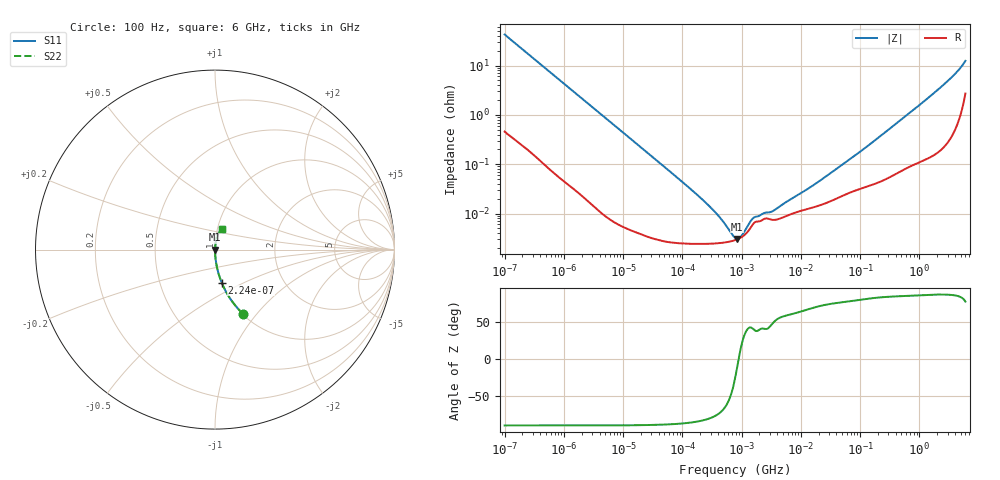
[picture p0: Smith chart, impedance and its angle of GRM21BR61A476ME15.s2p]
!Murata Part Number: GRM21BR61A476ME15
!These Parameters are Measured in Series Mode Connection
!Data Generated on Mar 30, 2021
!  o--ll--o
!Port1  Port2
!  o------o
!Operation Temp=25[degC], DC Bias Voltage=0[V]
!Freq. Start=100[Hz] Stop=6[GHz] 401[Steps]
# Hz S RI R 50
!Freq.(Hz) S11(Real) S11(Imag) S21(Real) S21(Imag) S12(Real) S12(Imag) S22(Real) S22(Imag)
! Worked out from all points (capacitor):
!   401 points, 100 Hz to 6 GHz, reference 50 ohm
!   read as one part in series: C = 37.2 uF near 109 Hz
!   lowest |Z| = 3.06 mohm at 847.2 kHz (marker M1)
!   series resonance near 892.3 kHz, so ESL is about 850 pH
!   S11 on the Smith chart (normalised r, x): 100 Hz: 1.01, -0.85; 224 Hz: 1.00, -0.38; 6 GHz: 1.05, +0.24
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100  0.1564 -0.3579  0.8436 0.3579  0.8436 0.3579  0.1564 -0.3579
156  0.0718 -0.2528  0.9282 0.2528  0.9282 0.2528  0.0718 -0.2528
224  0.0373 -0.1839  0.9627 0.1839  0.9627 0.1839  0.0373 -0.1839
350  0.0161 -0.1206  0.9839 0.1206  0.9839 0.1206  0.0161 -0.1206
573  0.00641 -0.0747  0.9936 0.0747  0.9936 0.0747  0.00641 -0.0747
2008  0.000698 -0.0216  0.9993 0.0216  0.9993 0.0216  0.000698 -0.0216
40335  3e-05 -0.00109  1 0.00109  1 0.00109  3e-05 -0.00109
161617  2.43e-05 -0.000265  1 0.000265  1 0.000265  2.43e-05 -0.000265
361830  2.48e-05 -0.000102  1 0.000102  1 0.000102  2.48e-05 -0.000102
413847  2.51e-05 -8.43e-05  1 8.43e-05  1 8.43e-05  2.51e-05 -8.43e-05
774597  2.89e-05 -1.43e-05  1 1.43e-05  1 1.43e-05  2.89e-05 -1.43e-05
847162  3.01e-05 -5.3e-06  1 5.3e-06  1 5.3e-06  3.01e-05 -5.3e-06
2074311  7.04e-05 6e-05  0.9999 -6e-05  0.9999 -6e-05  7.04e-05 6e-05
3103719  7.57e-05 7.6e-05  0.9999 -7.6e-05  0.9999 -7.6e-05  7.57e-05 7.6e-05
3549919  7.43e-05 8.98e-05  0.9999 -8.98e-05  0.9999 -8.98e-05  7.43e-05 8.98e-05
1.555665e7  0.000132 0.000337  0.9999 -0.000337  0.9999 -0.000337  0.000132 0.000337
8.918374e7  0.000303 0.00159  0.9997 -0.00159  0.9997 -0.00159  0.000303 0.00159
3.124326e8  0.000565 0.00515  0.9994 -0.00515  0.9994 -0.00515  0.000565 0.00515
1.046602e9  0.00138 0.0164  0.9986 -0.0164  0.9986 -0.0164  0.00138 0.0164
2.34314e9  0.00332 0.0368  0.9967 -0.0368  0.9967 -0.0368  0.00332 0.0368
3.8344e9  0.00842 0.0631  0.9916 -0.0631  0.9916 -0.0631  0.00842 0.0631
6e9  0.0398 0.1136  0.9602 -0.1136  0.9602 -0.1136  0.0398 0.1136
